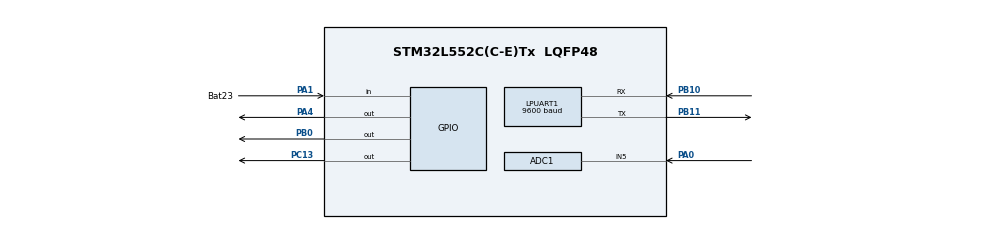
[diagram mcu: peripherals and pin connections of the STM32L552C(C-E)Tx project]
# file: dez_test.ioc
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ADC1.Channel-0\#ChannelRegularConversion=ADC_CHANNEL_5
ADC1.Channel-6\#ChannelRegularConversion=ADC_CHANNEL_5
ADC1.Channel-7\#ChannelRegularConversion=ADC_CHANNEL_5
ADC1.Channel-8\#ChannelRegularConversion=ADC_CHANNEL_5
ADC1.NbrOfConversion=4
ADC1.NbrOfConversionFlag=1
ADC1.OffsetNumber-0\#ChannelRegularConversion=ADC_OFFSET_NONE
ADC1.OffsetNumber-6\#ChannelRegularConversion=ADC_OFFSET_NONE
ADC1.OffsetNumber-7\#ChannelRegularConversion=ADC_OFFSET_NONE
ADC1.OffsetNumber-8\#ChannelRegularConversion=ADC_OFFSET_NONE
ADC1.Rank-0\#ChannelRegularConversion=1
ADC1.Rank-6\#ChannelRegularConversion=2
ADC1.Rank-7\#ChannelRegularConversion=3
ADC1.Rank-8\#ChannelRegularConversion=4
ADC1.SamplingTime-0\#ChannelRegularConversion=ADC_SAMPLETIME_2CYCLES_5
ADC1.SamplingTime-6\#ChannelRegularConversion=ADC_SAMPLETIME_2CYCLES_5
ADC1.SamplingTime-7\#ChannelRegularConversion=ADC_SAMPLETIME_2CYCLES_5
ADC1.SamplingTime-8\#ChannelRegularConversion=ADC_SAMPLETIME_2CYCLES_5
ADC1.master=1
LPUART1.BaudRate=9600
Mcu.Family=STM32L5
Mcu.Name=STM32L552C(C-E)Tx
Mcu.Package=LQFP48
NVIC.LPUART1_IRQn=true\:0\:0\:false\:false\:true\:true\:true\:true
NVIC.PriorityGroup=NVIC_PRIORITYGROUP_3
NVIC.RTC_IRQn=true\:0\:0\:false\:false\:true\:true\:true\:true
PA0.Signal=ADCx_IN5
PA1.GPIO_Label=Bat23
PA1.Signal=GPIO_Input
PA4.Signal=GPIO_Output
PB0.Signal=GPIO_Output
PB10.Mode=Asynchronous
PB10.Signal=LPUART1_RX
PB11.Mode=Asynchronous
PB11.Signal=LPUART1_TX
PC13.Signal=GPIO_Output
PH0-OSC_IN\ (PH0).Mode=HSE-External-Oscillator
PH0-OSC_IN\ (PH0).Signal=RCC_OSC_IN
PH1-OSC_OUT\ (PH1).Mode=HSE-External-Oscillator
PH1-OSC_OUT\ (PH1).Signal=RCC_OSC_OUT
ProjectManager.HeapSize=0x200
ProjectManager.StackSize=0x400
ProjectManager.TargetToolchain=STM32CubeIDE
RCC.ADCFreq_Value=32000000
RCC.HSE_VALUE=16000000
RCC.HSI48_VALUE=48000000
RCC.HSI_VALUE=16000000
RCC.LSE_VALUE=32768
RCC.MSI_VALUE=4000000
RCC.PLLSAI1N=16
RCC.USBFreq_Value=32000000
RCC.VCOOutputFreq_Value=32000000
RTC.WakeUpCounter-WakeUp=40960
SH.ADCx_IN5.0=ADC1_IN5,IN5-Single-Ended
VP_ADC1_TempSens_Input.Mode=IN-TempSens
VP_ADC1_Vbat_Input.Mode=IN-Vbat
VP_ADC1_Vref_Input.Mode=IN-Vrefint
VP_PWR_VS_DBSignals.Mode=DisableDeadBatterySignals
VP_PWR_VS_SECSignals.Mode=Security/Privilege
VP_RTC_VS_RTC_Activate.Mode=RTC_Enabled
VP_RTC_VS_RTC_WakeUp_intern.Mode=WakeUp
board=custom

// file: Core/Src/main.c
/* USER CODE BEGIN Header */
/**
  ******************************************************************************
  * @file           : main.c
  * @brief          : Main program body
  ******************************************************************************
  * @attention
  *
  * Copyright (c) 2025 STMicroelectronics.
  * All rights reserved.
  *
  * This software is licensed under terms that can be found in the LICENSE file
  * in the root directory of this software component.
  * If no LICENSE file comes with this software, it is provided AS-IS.
  *
  ******************************************************************************
  */
/* USER CODE END Header */
#include "main.h"

/* USER CODE BEGIN Includes */
#include <string.h>
#include <stdio.h>
#include <u_utils.h>
#include "stm32l5xx_hal.h"
/* USER CODE END Includes */

/* USER CODE BEGIN PD */
#define UART_RX_BUF_SIZE       128
#define UART_TIMEOUT_MS        100
#define COMPLETE_TIMEOUT_MS    10000  // 15 секунд ожидания COMPLETE
/* USER CODE END PD */

ADC_HandleTypeDef hadc1;

UART_HandleTypeDef hlpuart1;

RTC_HandleTypeDef hrtc;

/* USER CODE BEGIN PV */
uint8_t uart_rx_buf[UART_RX_BUF_SIZE];
uint8_t uart_rx_pos = 0;
volatile uint8_t uart_cmd_ready = 0;
uint32_t uart_last_rx_time = 0;
uint32_t period_sec = 1;
uint32_t last_send_time = 0;

// Флаг для отслеживания пробуждения
volatile uint8_t wakeup_flag = 0;

// Флаг для получения COMPLETE сообщения
volatile uint8_t complete_received = 0;

// ФЛАГ ДЛЯ ОПРЕДЕЛЕНИЯ ПОЛУЧЕНИЯ ПЕРИОДА ОТ ОСНОВНОГО МК
volatile uint8_t period_received = 0;

// Переменная для хранения статуса USB (добавьте эту строку)
volatile uint8_t usb_connection_status = 1;
/* USER CODE END PV */

void SystemClock_Config(void);
static void MX_GPIO_Init(void);
static void MX_LPUART1_UART_Init(void);
static void MX_ADC1_Init(void);
static void MX_RTC_Init(void);
/* USER CODE BEGIN PFP */
static float read_voltage(void);
static float read_temperature(void);
static void process_uart_command(uint8_t* data, uint8_t len);
static void send_datetime_with_voltage_and_temp(char* date_str, char* time_str);
static void enter_sleep_mode(void);
/* USER CODE END PFP */

/* USER CODE BEGIN 0 */

/**
  * @brief Read voltage from ADC
  *
  */
static float read_voltage(void)
{
    uint32_t adcValue = 0;
    float voltage = 0.0f;
    ADC_ChannelConfTypeDef sConfig = {0};

    // Конфигурация канала ADC
    sConfig.Channel = ADC_CHANNEL_5;
    sConfig.Rank = ADC_REGULAR_RANK_1;
    sConfig.SamplingTime = ADC_SAMPLETIME_2CYCLES_5;
    sConfig.SingleDiff = ADC_SINGLE_ENDED;
    sConfig.OffsetNumber = ADC_OFFSET_NONE;
    sConfig.Offset = 0;

    if (HAL_ADC_ConfigChannel(&hadc1, &sConfig) != HAL_OK)
    {
        return 0.0f;
    }

    // Запуск преобразования ADC
    if (HAL_ADC_Start(&hadc1) == HAL_OK)
    {
        // Ожидание завершения преобразования
        if (HAL_ADC_PollForConversion(&hadc1, 100) == HAL_OK)
        {
            adcValue = HAL_ADC_GetValue(&hadc1);
            voltage = (float)adcValue * 3.3f / 4095.0f;
        }
        HAL_ADC_Stop(&hadc1);
    }

    return voltage;
}

/**
  * @brief Read temperature from internal sensor
  */
static float read_temperature(void)
{
    // Добавляем задержку для стабилизации ADC
    HAL_Delay(10);

    // Полная инициализация ADC перед каждым измерением
    if (HAL_ADC_DeInit(&hadc1) != HAL_OK) {
        return -999.0f;
    }
    if (HAL_ADC_Init(&hadc1) != HAL_OK) {
        return -999.0f;
    }

    // Добавляем дополнительную задержку после инициализации
    HAL_Delay(5);

    TU1AdcValues adcValues = {0};
    GetAdcValues(&adcValues);

    // Проверяем корректность значения температуры
    if (adcValues.ChipTemperature < -40.0f || adcValues.ChipTemperature > 150.0f) {
        // Повторная попытка измерения при некорректном значении
        HAL_Delay(5);
        GetAdcValues(&adcValues);
    }

    return adcValues.ChipTemperature;
}

/**
  * @brief UART receive complete callback
  */
void HAL_UART_RxCpltCallback(UART_HandleTypeDef *huart)
{
    if(huart->Instance == LPUART1) {
        uart_last_rx_time = HAL_GetTick();

        // Проверяем, не получено ли сообщение COMPLETE
        if (uart_rx_pos >= 8 && strncmp((char*)&uart_rx_buf[uart_rx_pos - 8], "COMPLETE", 8) == 0) {
            complete_received = 1;
            uart_rx_pos = 0;
            memset(uart_rx_buf, 0, sizeof(uart_rx_buf));
            HAL_UART_Receive_IT(&hlpuart1, &uart_rx_buf[uart_rx_pos], 1);
            return;
        }

        if(uart_rx_buf[uart_rx_pos] == '\n' || uart_rx_pos >= sizeof(uart_rx_buf)-1) {
            uart_cmd_ready = 1;
            uart_rx_buf[uart_rx_pos] = '\0';
            HAL_UART_AbortReceive_IT(&hlpuart1);
        } else {
            uart_rx_pos++;
            HAL_UART_Receive_IT(&hlpuart1, &uart_rx_buf[uart_rx_pos], 1);
        }
    }
}

/**
  * @brief Переход в режим сна с настройкой RTC
  */
static void enter_sleep_mode(void)
{
    // ПРОВЕРЯЕМ ЧЕТНОСТЬ ПЕРИОДА вместо USB статуса
    if (period_sec % 2 != 0) {  // Если период НЕчетный
        return;  // Не переходим в сон
    }

    // Выключаем пины PB0 и PC13 только если USB_STATUS = 0
    HAL_GPIO_WritePin(GPIOB, GPIO_PIN_0, GPIO_PIN_RESET);
    HAL_GPIO_WritePin(GPIOC, GPIO_PIN_13, GPIO_PIN_RESET);

    // Настраиваем RTC WakeUp для периода сна
    HAL_RTCEx_DeactivateWakeUpTimer(&hrtc);

    if (HAL_RTCEx_SetWakeUpTimer_IT(&hrtc, period_sec, RTC_WAKEUPCLOCK_CK_SPRE_16BITS, 0) != HAL_OK)
    {
        Error_Handler();
    }

    // Переходим в режим сна
    HAL_PWR_EnterSLEEPMode(PWR_MAINREGULATOR_ON, PWR_SLEEPENTRY_WFI);
}
/**
  * @brief Process UART command from main MCU
  */
// Функция приема данных
static void process_uart_command(uint8_t* data, uint8_t len)
{
    char* date_ptr = strstr((char*)data, "DATE:");
    char* time_ptr = strstr((char*)data, ";TIME:");
    char* period_ptr = strstr((char*)data, ";PERIOD:");
    char* usb_ptr = strstr((char*)data, ";USB:");

    if(date_ptr && time_ptr && period_ptr && usb_ptr) {
        char date_str[16] = {0};
        char time_str[16] = {0};
        uint8_t usb_status = 0;

        // Извлекаем дату, время, период и статус USB из команды
        sscanf(date_ptr, "DATE:%15[^;]", date_ptr);
        sscanf(time_ptr, ";TIME:%15[^;]", time_ptr);
        sscanf(period_ptr, ";PERIOD:%lu", &period_sec);
        sscanf(usb_ptr, ";USB:%hhu", &usb_status);

        // Копируем только нужные части
        strncpy(date_str, date_ptr + 5, 10); // "DATE:YYYY-MM-DD"
        strncpy(time_str, time_ptr + 6, 8);  // "TIME:HH:MM:SS"

        HAL_Delay(100);

        // УСТАНАВЛИВАЕМ ФЛАГ, ЧТО ПЕРИОД ПОЛУЧЕН
        period_received = 1;

        // Сохраняем статус USB для дальнейшего использования
        usb_connection_status = usb_status;

        // Отправляем ответ с напряжением и температурой
       send_datetime_with_voltage_and_temp(date_str, time_str);

        // ЕСЛИ USB_STATUS = 1, ТО НЕ ПЕРЕХОДИМ В СОН И НЕ ОТКЛЮЧАЕМ ПИНЫ!
       if (period_sec % 2 == 0) {
            // Ждем COMPLETE сообщение или таймаут 10 секунд
            uint32_t start_time = HAL_GetTick();
            complete_received = 0;

            while ((HAL_GetTick() - start_time) < COMPLETE_TIMEOUT_MS && !complete_received) {
                // Обрабатываем входящие UART данные
                if(uart_cmd_ready) {
                    uart_cmd_ready = 0;
                    // Если пришла новая команда, обрабатываем ее
                    process_uart_command(uart_rx_buf, uart_rx_pos);
                }

                // Таймаут UART приема
                if(uart_rx_pos > 0 && (HAL_GetTick() - uart_last_rx_time) > UART_TIMEOUT_MS) {
                    uart_rx_pos = 0;
                    memset(uart_rx_buf, 0, sizeof(uart_rx_buf));
                    HAL_UART_Receive_IT(&hlpuart1, &uart_rx_buf[uart_rx_pos], 1);
                }

                HAL_Delay(10);
            }

            // Переходим в сон только если USB_STATUS = 0
            enter_sleep_mode();
        }
        // ЕСЛИ USB_STATUS = 1, ТО ПРОСТО ПРОДОЛЖАЕМ РАБОТУ В НОРМАЛЬНОМ РЕЖИМЕ
    }

    uart_rx_pos = 0;
    memset(uart_rx_buf, 0, sizeof(uart_rx_buf));
    HAL_UART_Receive_IT(&hlpuart1, &uart_rx_buf[uart_rx_pos], 1);
}

/**
  * @brief Send datetime with voltage and temperature to main MCU
  */
static void send_datetime_with_voltage_and_temp(char* date_str, char* time_str)
{
    float voltage = read_voltage();
    float temperature = read_temperature();

    char uart_msg[128];

    // Форматируем сообщение в том же формате, что и во втором коде
    snprintf(uart_msg, sizeof(uart_msg),
           "DATE:%s;TIME:%s;PERIOD:%lu;VOLTAGE:%.4f;TEMP:%.2f\r\n",
           date_str, time_str, period_sec, voltage, temperature);

    HAL_UART_Transmit(&hlpuart1, (uint8_t*)uart_msg, strlen(uart_msg), 100);
}

/**
  * @brief  Обработчик прерывания WakeUp Timer.
  * @retval None
  */
void HAL_RTCEx_WakeUpTimerEventCallback(RTC_HandleTypeDef *hrtc)
{
  // Устанавливаем флаг пробуждения
  wakeup_flag = 1;
}

/**
  * @brief  Обработчик прерывания RTC WakeUp.
  * @retval None
  */
void RTC_WKUP_IRQHandler(void)
{
  HAL_RTCEx_WakeUpTimerIRQHandler(&hrtc);
  __HAL_RTC_WAKEUPTIMER_EXTI_CLEAR_FLAG();
}

/* USER CODE END 0 */

int main(void)
{

  /* MCU Configuration--------------------------------------------------------*/

  /* Reset of all peripherals, Initializes the Flash interface and the Systick. */
  HAL_Init();

  /* Configure the system clock */
  SystemClock_Config();

  /* Initialize all configured peripherals */
  MX_GPIO_Init();
  MX_LPUART1_UART_Init();
  MX_ADC1_Init();
  MX_RTC_Init();
  /* USER CODE BEGIN 2 */
  // Включаем обработчик прерывания RTC WakeUp
  HAL_NVIC_SetPriority(RTC_IRQn, 0, 0);
  HAL_NVIC_EnableIRQ(RTC_IRQn);

  // Включаем пины PC13 и PB0 по умолчанию
  HAL_GPIO_WritePin(GPIOC, GPIO_PIN_13, GPIO_PIN_SET);
  HAL_GPIO_WritePin(GPIOB, GPIO_PIN_0, GPIO_PIN_SET);

  // Инициализируем UART прием
  uart_last_rx_time = HAL_GetTick();
  HAL_UART_Receive_IT(&hlpuart1, &uart_rx_buf[uart_rx_pos], 1);

  // СБРАСЫВАЕМ ФЛАГ ПОЛУЧЕНИЯ ПЕРИОДА ПРИ СТАРТЕ
  period_received = 0;

  /* USER CODE END 2 */

  /* Infinite loop */
  /* USER CODE BEGIN WHILE */
  while (1)

  {

	  // Измеряем напряжение и температуру
	  // ГЛАВНОЕ ИЗМЕНЕНИЕ: Проверяем флаг пробуждения от RTC ТОЛЬКО если период уже получен И USB_STATUS = 0
	  if(wakeup_flag && period_received && (period_sec % 2 == 0))
	     {
	         // Сбрасываем флаг
	         wakeup_flag = 0;

	         // Включаем пины PC13 и PB0
	         HAL_GPIO_WritePin(GPIOC, GPIO_PIN_13, GPIO_PIN_SET);
	         HAL_GPIO_WritePin(GPIOB, GPIO_PIN_0, GPIO_PIN_SET);

	         // Ждем 3 секунды после включения
	         HAL_Delay(3000);

	         // Измеряем напряжение и температуру
	         float voltage = read_voltage();
	         float temperature = read_temperature();

	         // Формируем и отправляем сообщение основному МК
	         char uart_msg[128];
	         snprintf(uart_msg, sizeof(uart_msg),
	                "DATE:2000-01-01;TIME:00:00:00;PERIOD:%lu;VOLTAGE:%.4f;TEMP:%.2f\r\n",
	                period_sec, voltage, temperature);

	         HAL_UART_Transmit(&hlpuart1, (uint8_t*)uart_msg, strlen(uart_msg), 100);

	         // Ждем COMPLETE сообщение или таймаут 10 секунд
	         uint32_t start_time = HAL_GetTick();
	         complete_received = 0;

	         while ((HAL_GetTick() - start_time) < COMPLETE_TIMEOUT_MS && !complete_received) {
	             // Обрабатываем входящие UART данные
	             if(uart_cmd_ready) {
	                 uart_cmd_ready = 0;
	                 process_uart_command(uart_rx_buf, uart_rx_pos);
	             }

	             // Таймаут UART приема
	             if(uart_rx_pos > 0 && (HAL_GetTick() - uart_last_rx_time) > UART_TIMEOUT_MS) {
	                 uart_rx_pos = 0;
	                 memset(uart_rx_buf, 0, sizeof(uart_rx_buf));
	                 HAL_UART_Receive_IT(&hlpuart1, &uart_rx_buf[uart_rx_pos], 1);
	             }

	             HAL_Delay(10);
	         }

	         // Переходим в сон только если USB_STATUS = 0
	         enter_sleep_mode();
	     }

	     // Обработка UART команд (работает всегда для получения периода и статуса USB)
	     if(uart_cmd_ready) {
	         uart_cmd_ready = 0;
	         process_uart_command(uart_rx_buf, uart_rx_pos);
	     }

	     // Таймаут приема UART
	     if(uart_rx_pos > 0 && (HAL_GetTick() - uart_last_rx_time) > UART_TIMEOUT_MS) {
	         uart_rx_pos = 0;
	         memset(uart_rx_buf, 0, sizeof(uart_rx_buf));
	         HAL_UART_Receive_IT(&hlpuart1, &uart_rx_buf[uart_rx_pos], 1);
	     }

	     /* USER CODE END WHILE */

	 }
}
// Остальной код без изменений (SystemClock_Config, MX_ADC1_Init, MX_LPUART1_UART_Init, MX_RTC_Init, MX_GPIO_Init, Error_Handler)

void SystemClock_Config(void)
{
  RCC_OscInitTypeDef RCC_OscInitStruct = {0};
  RCC_ClkInitTypeDef RCC_ClkInitStruct = {0};

  /** Configure the main internal regulator output voltage
  */
  if (HAL_PWREx_ControlVoltageScaling(PWR_REGULATOR_VOLTAGE_SCALE2) != HAL_OK)
  {
    Error_Handler();
  }

  /** Initializes the RCC Oscillators according to the specified parameters
  * in the RCC_OscInitTypeDef structure.
  */
  RCC_OscInitStruct.OscillatorType = RCC_OSCILLATORTYPE_LSI|RCC_OSCILLATORTYPE_MSI;
  RCC_OscInitStruct.LSIDiv = RCC_LSI_DIV1;
  RCC_OscInitStruct.LSIState = RCC_LSI_ON;
  RCC_OscInitStruct.MSIState = RCC_MSI_ON;
  RCC_OscInitStruct.MSICalibrationValue = RCC_MSICALIBRATION_DEFAULT;
  RCC_OscInitStruct.MSIClockRange = RCC_MSIRANGE_6;
  RCC_OscInitStruct.PLL.PLLState = RCC_PLL_NONE;
  if (HAL_RCC_OscConfig(&RCC_OscInitStruct) != HAL_OK)
  {
    Error_Handler();
  }

  /** Initializes the CPU, AHB and APB buses clocks
  */
  RCC_ClkInitStruct.ClockType = RCC_CLOCKTYPE_HCLK|RCC_CLOCKTYPE_SYSCLK
                              |RCC_CLOCKTYPE_PCLK1|RCC_CLOCKTYPE_PCLK2;
  RCC_ClkInitStruct.SYSCLKSource = RCC_SYSCLKSOURCE_MSI;
  RCC_ClkInitStruct.AHBCLKDivider = RCC_SYSCLK_DIV1;
  RCC_ClkInitStruct.APB1CLKDivider = RCC_HCLK_DIV1;
  RCC_ClkInitStruct.APB2CLKDivider = RCC_HCLK_DIV1;

  if (HAL_RCC_ClockConfig(&RCC_ClkInitStruct, FLASH_LATENCY_0) != HAL_OK)
  {
    Error_Handler();
  }
}

static void MX_ADC1_Init(void)
{

  ADC_MultiModeTypeDef multimode = {0};
  ADC_ChannelConfTypeDef sConfig = {0};

  /** Common config
  */
  hadc1.Instance = ADC1;
  hadc1.Init.ClockPrescaler = ADC_CLOCK_ASYNC_DIV1;
  hadc1.Init.Resolution = ADC_RESOLUTION_12B;
  hadc1.Init.DataAlign = ADC_DATAALIGN_RIGHT;
  hadc1.Init.ScanConvMode = ADC_SCAN_ENABLE;
  hadc1.Init.EOCSelection = ADC_EOC_SINGLE_CONV;
  hadc1.Init.LowPowerAutoWait = DISABLE;
  hadc1.Init.ContinuousConvMode = DISABLE;
  hadc1.Init.NbrOfConversion = 4;
  hadc1.Init.DiscontinuousConvMode = DISABLE;
  hadc1.Init.ExternalTrigConv = ADC_SOFTWARE_START;
  hadc1.Init.ExternalTrigConvEdge = ADC_EXTERNALTRIGCONVEDGE_NONE;
  hadc1.Init.DMAContinuousRequests = DISABLE;
  hadc1.Init.Overrun = ADC_OVR_DATA_PRESERVED;
  hadc1.Init.OversamplingMode = DISABLE;
  if (HAL_ADC_Init(&hadc1) != HAL_OK)
  {
    Error_Handler();
  }

  /** Configure the ADC multi-mode
  */
  multimode.Mode = ADC_MODE_INDEPENDENT;
  if (HAL_ADCEx_MultiModeConfigChannel(&hadc1, &multimode) != HAL_OK)
  {
    Error_Handler();
  }

  /** Configure Regular Channel
  */
  sConfig.Channel = ADC_CHANNEL_5;
  sConfig.Rank = ADC_REGULAR_RANK_1;
  sConfig.SamplingTime = ADC_SAMPLETIME_2CYCLES_5;
  sConfig.SingleDiff = ADC_SINGLE_ENDED;
  sConfig.OffsetNumber = ADC_OFFSET_NONE;
  sConfig.Offset = 0;
  if (HAL_ADC_ConfigChannel(&hadc1, &sConfig) != HAL_OK)
  {
    Error_Handler();
  }

  /** Configure Regular Channel
  */
  sConfig.Rank = ADC_REGULAR_RANK_2;
  if (HAL_ADC_ConfigChannel(&hadc1, &sConfig) != HAL_OK)
  {
    Error_Handler();
  }

  /** Configure Regular Channel
  */
  sConfig.Rank = ADC_REGULAR_RANK_3;
  if (HAL_ADC_ConfigChannel(&hadc1, &sConfig) != HAL_OK)
  {
    Error_Handler();
  }

  /** Configure Regular Channel
  */
  sConfig.Rank = ADC_REGULAR_RANK_4;
  if (HAL_ADC_ConfigChannel(&hadc1, &sConfig) != HAL_OK)
  {
    Error_Handler();
  }

}

static void MX_LPUART1_UART_Init(void)
{

  hlpuart1.Instance = LPUART1;
  hlpuart1.Init.BaudRate = 9600;
  hlpuart1.Init.WordLength = UART_WORDLENGTH_8B;
  hlpuart1.Init.StopBits = UART_STOPBITS_1;
  hlpuart1.Init.Parity = UART_PARITY_NONE;
  hlpuart1.Init.Mode = UART_MODE_TX_RX;
  hlpuart1.Init.HwFlowCtl = UART_HWCONTROL_NONE;
  hlpuart1.Init.OneBitSampling = UART_ONE_BIT_SAMPLE_DISABLE;
  hlpuart1.Init.ClockPrescaler = UART_PRESCALER_DIV1;
  hlpuart1.AdvancedInit.AdvFeatureInit = UART_ADVFEATURE_NO_INIT;
  hlpuart1.FifoMode = UART_FIFOMODE_DISABLE;
  if (HAL_UART_Init(&hlpuart1) != HAL_OK)
  {
    Error_Handler();
  }
  if (HAL_UARTEx_SetTxFifoThreshold(&hlpuart1, UART_TXFIFO_THRESHOLD_1_8) != HAL_OK)
  {
    Error_Handler();
  }
  if (HAL_UARTEx_SetRxFifoThreshold(&hlpuart1, UART_RXFIFO_THRESHOLD_1_8) != HAL_OK)
  {
    Error_Handler();
  }
  if (HAL_UARTEx_DisableFifoMode(&hlpuart1) != HAL_OK)
  {
    Error_Handler();
  }

}

static void MX_RTC_Init(void)
{

  RTC_PrivilegeStateTypeDef privilegeState = {0};

  /** Initialize RTC Only
  */
  hrtc.Instance = RTC;
  hrtc.Init.HourFormat = RTC_HOURFORMAT_24;
  hrtc.Init.AsynchPrediv = 127;
  hrtc.Init.SynchPrediv = 255;
  hrtc.Init.OutPut = RTC_OUTPUT_DISABLE;
  hrtc.Init.OutPutRemap = RTC_OUTPUT_REMAP_NONE;
  hrtc.Init.OutPutPolarity = RTC_OUTPUT_POLARITY_HIGH;
  hrtc.Init.OutPutType = RTC_OUTPUT_TYPE_OPENDRAIN;
  hrtc.Init.OutPutPullUp = RTC_OUTPUT_PULLUP_NONE;
  if (HAL_RTC_Init(&hrtc) != HAL_OK)
  {
    Error_Handler();
  }
  privilegeState.rtcPrivilegeFull = RTC_PRIVILEGE_FULL_NO;
  privilegeState.backupRegisterPrivZone = RTC_PRIVILEGE_BKUP_ZONE_NONE;
  privilegeState.backupRegisterStartZone2 = RTC_BKP_DR0;
  privilegeState.backupRegisterStartZone3 = RTC_BKP_DR0;
  if (HAL_RTCEx_PrivilegeModeSet(&hrtc, &privilegeState) != HAL_OK)
  {
    Error_Handler();
  }

}

static void MX_GPIO_Init(void)
{
  GPIO_InitTypeDef GPIO_InitStruct = {0};

  /* GPIO Ports Clock Enable */
  __HAL_RCC_GPIOC_CLK_ENABLE();
  __HAL_RCC_GPIOH_CLK_ENABLE();
  __HAL_RCC_GPIOA_CLK_ENABLE();
  __HAL_RCC_GPIOB_CLK_ENABLE();

  /*Configure GPIO pin Output Level */
  HAL_GPIO_WritePin(GPIOC, GPIO_PIN_13, GPIO_PIN_RESET);

  /*Configure GPIO pin Output Level */
  HAL_GPIO_WritePin(GPIOA, GPIO_PIN_4, GPIO_PIN_RESET);

  /*Configure GPIO pin Output Level */
  HAL_GPIO_WritePin(GPIOB, GPIO_PIN_0, GPIO_PIN_RESET);

  /*Configure GPIO pin : PC13 */
  GPIO_InitStruct.Pin = GPIO_PIN_13;
  GPIO_InitStruct.Mode = GPIO_MODE_OUTPUT_PP;
  GPIO_InitStruct.Pull = GPIO_NOPULL;
  GPIO_InitStruct.Speed = GPIO_SPEED_FREQ_LOW;
  HAL_GPIO_Init(GPIOC, &GPIO_InitStruct);

  /*Configure GPIO pin : Bat23_Pin */
  GPIO_InitStruct.Pin = Bat23_Pin;
  GPIO_InitStruct.Mode = GPIO_MODE_INPUT;
  GPIO_InitStruct.Pull = GPIO_NOPULL;
  HAL_GPIO_Init(Bat23_GPIO_Port, &GPIO_InitStruct);

  /*Configure GPIO pin : PA4 */
  GPIO_InitStruct.Pin = GPIO_PIN_4;
  GPIO_InitStruct.Mode = GPIO_MODE_OUTPUT_PP;
  GPIO_InitStruct.Pull = GPIO_NOPULL;
  GPIO_InitStruct.Speed = GPIO_SPEED_FREQ_LOW;
  HAL_GPIO_Init(GPIOA, &GPIO_InitStruct);

  /*Configure GPIO pin : PB0 */
  GPIO_InitStruct.Pin = GPIO_PIN_0;
  GPIO_InitStruct.Mode = GPIO_MODE_OUTPUT_PP;
  GPIO_InitStruct.Pull = GPIO_NOPULL;
  GPIO_InitStruct.Speed = GPIO_SPEED_FREQ_LOW;
  HAL_GPIO_Init(GPIOB, &GPIO_InitStruct);

}

void Error_Handler(void)
{
  __disable_irq();
  while (1)
  {
  }
}
